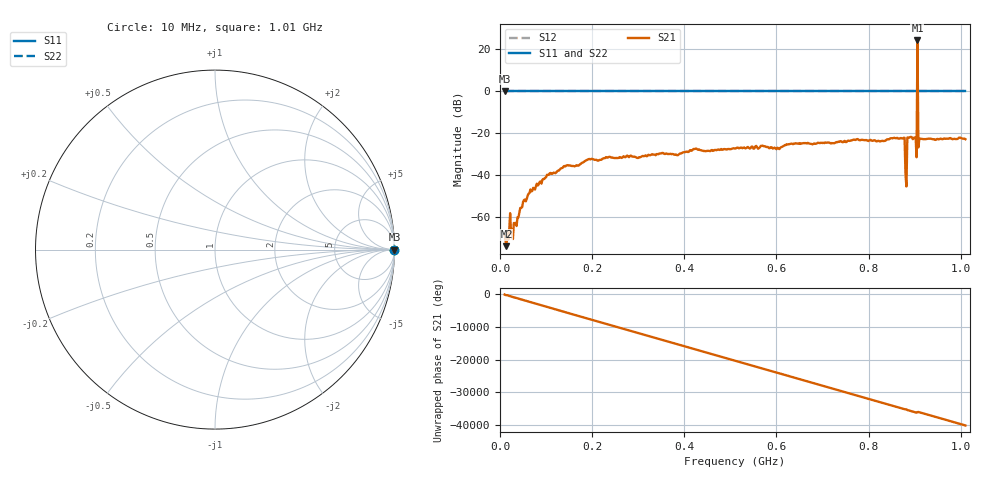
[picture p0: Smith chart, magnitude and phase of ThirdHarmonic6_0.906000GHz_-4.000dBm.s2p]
! 8/16/2025 5:40:36 AM
! C:\ANRITSUVNA\TEMP\TEMP.S2P
! CHANNEL.1
! TR.MEASUREMENT
! RAW.DATA
! RF.CORRECTION.OFF
! AVERAGING.OFF
! IF.BANDWIDTH: 5KHZ
! SWEEPTYPE:  FREQ.SWEEP(Linear)
! Reference Plane Port Info
! PORT:  PORT1  PORT2
! DISTANCE:  0  m  0  m
! TIME:  0  s  0  s
! PHASE.OFFSET:  0  deg.  0  deg.
! LOSS:  0  dB  0  dB
! REF.LOSS:  0  dB  0  dB
! REF.FREQ:  0  Hz  0  Hz
! Power Info
! POWER:  -20  dBm  -20  dBm
! EFF.POWER:  -20  dBm  -20  dBm
! SOURCE.ATTEN:  0  dB  0  dB
! TEST.ATTEN:  0  dB  0  dB
# GHZ S RI R 50.0
! FREQ.GHZ  S11RE  S11IM  S21RE  S21IM  S12RE  S12IM  S22RE  S22IM
!; PortSelection: Port_12
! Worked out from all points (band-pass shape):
!   501 points, 10 MHz to 1.01 GHz, reference 50 ohm
!   highest |S21| = 23.91 dB at 906 MHz (marker M1); lowest = -73.6 dB at 14 MHz (marker M2)
!   |S21| within 3 dB of the highest: 905.8916 MHz to 906.1184 MHz (226.8 kHz wide, 0.025 % of centre)
!   lowest |S11| = 0.0 dB at 10 MHz (marker M3)
!   |S11| at or under -10 dB: nowhere
!   |S22| runs from 0.0 to 0.0 dB; largest |S21 - S12| = 15
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0.01  1 0  -0.000383 -0.000102  1 0  1 0
0.014  1 0  0.000203 -4.8e-05  1 0  1 0
0.02  1 0  -0.000166 0.000451  1 0  1 0
0.032  1 0  0.000723 -0.000109  1 0  1 0
0.048  1 0  0.000603 0.00163  1 0  1 0
0.07  1 0  -0.00137 -0.00403  1 0  1 0
0.106  1 0  -0.00698 -0.00753  1 0  1 0
0.178  1 0  -0.019 -0.00502  1 0  1 0
0.344  1 0  0.0312 -0.0051  1 0  1 0
0.51  1 0  -0.0417 0.0108  1 0  1 0
0.678  1 0  -0.0161 -0.0515  1 0  1 0
0.844  1 0  0.039 0.0588  1 0  1 0
0.874  1 0  0.0203 -0.0714  1 0  1 0
0.878  1 0  -0.0425 0.0647  1 0  1 0
0.884  1 0  -0.0383 -0.0685  1 0  1 0
0.888  1 0  0.014 0.0763  1 0  1 0
0.9  1 0  0.0547 -0.0563  1 0  1 0
0.902  1 0  -0.0477 -0.0633  1 0  1 0
0.906  1 0  10.05 -12.04  1 0  1 0
0.91  1 0  0.00117 -0.0725  1 0  1 0
0.912  1 0  -0.0726 -0.0133  1 0  1 0
1.01  1 0  -0.0657 -0.0282  1 0  1 0
